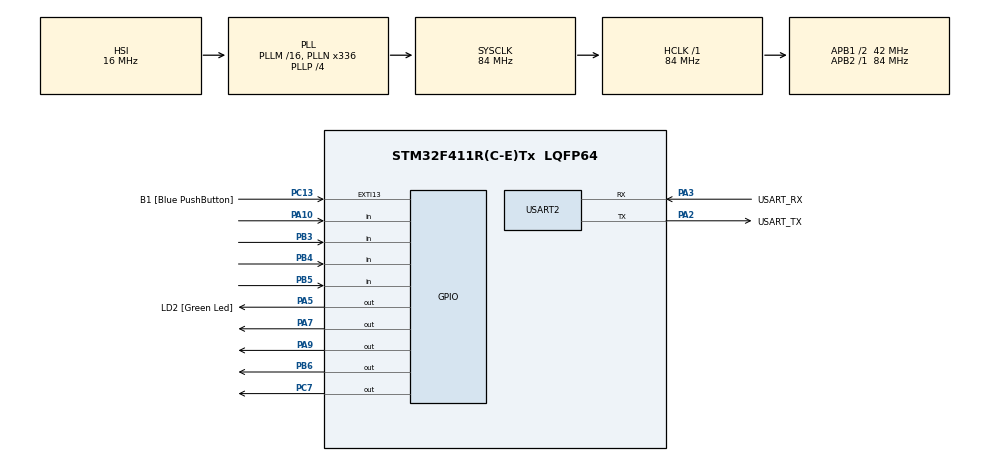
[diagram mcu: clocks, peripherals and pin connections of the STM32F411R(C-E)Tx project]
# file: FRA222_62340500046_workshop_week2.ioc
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Mcu.Family=STM32F4
Mcu.Name=STM32F411R(C-E)Tx
Mcu.Package=LQFP64
NVIC.PriorityGroup=NVIC_PRIORITYGROUP_0
PA10.GPIO_PuPd=GPIO_PULLUP
PA10.Signal=GPIO_Input
PA13.GPIO_Label=TMS
PA13.Mode=Serial_Wire
PA13.Signal=SYS_JTMS-SWDIO
PA14.GPIO_Label=TCK
PA14.Mode=Serial_Wire
PA14.Signal=SYS_JTCK-SWCLK
PA2.GPIO_Label=USART_TX
PA2.Mode=Asynchronous
PA2.Signal=USART2_TX
PA3.GPIO_Label=USART_RX
PA3.Mode=Asynchronous
PA3.Signal=USART2_RX
PA5.GPIO_Label=LD2 [Green Led]
PA5.GPIO_ModeDefaultOutputPP=GPIO_MODE_OUTPUT_OD
PA5.Signal=GPIO_Output
PA7.GPIO_ModeDefaultOutputPP=GPIO_MODE_OUTPUT_OD
PA7.PinState=GPIO_PIN_SET
PA7.Signal=GPIO_Output
PA9.GPIO_ModeDefaultOutputPP=GPIO_MODE_OUTPUT_OD
PA9.PinState=GPIO_PIN_SET
PA9.Signal=GPIO_Output
PB3.GPIO_PuPd=GPIO_PULLUP
PB3.Signal=GPIO_Input
PB4.GPIO_PuPd=GPIO_PULLUP
PB4.Signal=GPIO_Input
PB5.GPIO_PuPd=GPIO_PULLUP
PB5.Signal=GPIO_Input
PB6.GPIO_ModeDefaultOutputPP=GPIO_MODE_OUTPUT_OD
PB6.PinState=GPIO_PIN_SET
PB6.Signal=GPIO_Output
PC13-ANTI_TAMP.GPIO_Label=B1 [Blue PushButton]
PC13-ANTI_TAMP.GPIO_ModeDefaultEXTI=GPIO_MODE_IT_FALLING
PC13-ANTI_TAMP.Signal=GPXTI13
PC14-OSC32_IN.Mode=LSE-External-Oscillator
PC14-OSC32_IN.Signal=RCC_OSC32_IN
PC15-OSC32_OUT.Mode=LSE-External-Oscillator
PC15-OSC32_OUT.Signal=RCC_OSC32_OUT
PC7.GPIO_ModeDefaultOutputPP=GPIO_MODE_OUTPUT_OD
PC7.PinState=GPIO_PIN_SET
PC7.Signal=GPIO_Output
PH0\ -\ OSC_IN.Mode=HSE-External-Clock-Source
PH0\ -\ OSC_IN.Signal=RCC_OSC_IN
PH1\ -\ OSC_OUT.Mode=HSE-External-Clock-Source
PH1\ -\ OSC_OUT.Signal=RCC_OSC_OUT
ProjectManager.HeapSize=0x200
ProjectManager.StackSize=0x400
ProjectManager.TargetToolchain=STM32CubeIDE
RCC.48MHZClocksFreq_Value=84000000
RCC.AHBFreq_Value=84000000
RCC.APB1CLKDivider=RCC_HCLK_DIV2
RCC.APB1Freq_Value=42000000
RCC.APB1TimFreq_Value=84000000
RCC.APB2Freq_Value=84000000
RCC.APB2TimFreq_Value=84000000
RCC.CortexFreq_Value=84000000
RCC.FLatency-AdvancedSettings=FLASH_LATENCY_2
RCC.HCLKFreq_Value=84000000
RCC.HSE_VALUE=8000000
RCC.HSI_VALUE=16000000
RCC.PLLN=336
RCC.PLLP=RCC_PLLP_DIV4
RCC.SYSCLKFreq_VALUE=84000000
RCC.SYSCLKSource=RCC_SYSCLKSOURCE_PLLCLK
RCC.VCOOutputFreq_Value=336000000
USART2.VirtualMode=VM_ASYNC
board=NUCLEO-F411RE

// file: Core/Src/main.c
/* USER CODE BEGIN Header */
/**
  ******************************************************************************
  * @file           : main.c
  * @brief          : Main program body
  ******************************************************************************
  * @attention
  *
  * <h2><center>&copy; Copyright (c) 2021 STMicroelectronics.
  * All rights reserved.</center></h2>
  *
  * This software component is licensed by ST under BSD 3-Clause license,
  * the "License"; You may not use this file except in compliance with the
  * License. You may obtain a copy of the License at:
  *                        opensource.org/licenses/BSD-3-Clause
  *
  ******************************************************************************
  */
/* USER CODE END Header */
#include "main.h"

UART_HandleTypeDef huart2;

/* USER CODE BEGIN PV */
//save status button matrix
uint16_t ButtonMatrixState =0;
uint32_t ButtonMatrixTimestamp =0;

/* USER CODE END PV */

void SystemClock_Config(void);
static void MX_GPIO_Init(void);
static void MX_USART2_UART_Init(void);
/* USER CODE BEGIN PFP */
//scan and update data of button matrix
void ButtonMatrixUpdate();
/* USER CODE END PFP */

int main(void)
{

  /* MCU Configuration--------------------------------------------------------*/

  /* Reset of all peripherals, Initializes the Flash interface and the Systick. */

	HAL_Init();

  /* Configure the system clock */
  SystemClock_Config();

  /* Initialize all configured peripherals */
  MX_GPIO_Init();
  MX_USART2_UART_Init();

  /* Infinite loop */
  while (1)
  {
	  ButtonMatrixUpdate();
  }
}

void SystemClock_Config(void)
{
  RCC_OscInitTypeDef RCC_OscInitStruct = {0};
  RCC_ClkInitTypeDef RCC_ClkInitStruct = {0};

  /** Configure the main internal regulator output voltage
  */
  __HAL_RCC_PWR_CLK_ENABLE();
  __HAL_PWR_VOLTAGESCALING_CONFIG(PWR_REGULATOR_VOLTAGE_SCALE1);
  /** Initializes the RCC Oscillators according to the specified parameters
  * in the RCC_OscInitTypeDef structure.
  */
  RCC_OscInitStruct.OscillatorType = RCC_OSCILLATORTYPE_HSI;
  RCC_OscInitStruct.HSIState = RCC_HSI_ON;
  RCC_OscInitStruct.HSICalibrationValue = RCC_HSICALIBRATION_DEFAULT;
  RCC_OscInitStruct.PLL.PLLState = RCC_PLL_ON;
  RCC_OscInitStruct.PLL.PLLSource = RCC_PLLSOURCE_HSI;
  RCC_OscInitStruct.PLL.PLLM = 16;
  RCC_OscInitStruct.PLL.PLLN = 336;
  RCC_OscInitStruct.PLL.PLLP = RCC_PLLP_DIV4;
  RCC_OscInitStruct.PLL.PLLQ = 4;
  if (HAL_RCC_OscConfig(&RCC_OscInitStruct) != HAL_OK)
  {
    Error_Handler();
  }
  /** Initializes the CPU, AHB and APB buses clocks
  */
  RCC_ClkInitStruct.ClockType = RCC_CLOCKTYPE_HCLK|RCC_CLOCKTYPE_SYSCLK
                              |RCC_CLOCKTYPE_PCLK1|RCC_CLOCKTYPE_PCLK2;
  RCC_ClkInitStruct.SYSCLKSource = RCC_SYSCLKSOURCE_PLLCLK;
  RCC_ClkInitStruct.AHBCLKDivider = RCC_SYSCLK_DIV1;
  RCC_ClkInitStruct.APB1CLKDivider = RCC_HCLK_DIV2;
  RCC_ClkInitStruct.APB2CLKDivider = RCC_HCLK_DIV1;

  if (HAL_RCC_ClockConfig(&RCC_ClkInitStruct, FLASH_LATENCY_2) != HAL_OK)
  {
    Error_Handler();
  }
}

static void MX_USART2_UART_Init(void)
{

  huart2.Instance = USART2;
  huart2.Init.BaudRate = 115200;
  huart2.Init.WordLength = UART_WORDLENGTH_8B;
  huart2.Init.StopBits = UART_STOPBITS_1;
  huart2.Init.Parity = UART_PARITY_NONE;
  huart2.Init.Mode = UART_MODE_TX_RX;
  huart2.Init.HwFlowCtl = UART_HWCONTROL_NONE;
  huart2.Init.OverSampling = UART_OVERSAMPLING_16;
  if (HAL_UART_Init(&huart2) != HAL_OK)
  {
    Error_Handler();
  }

}

static void MX_GPIO_Init(void)
{
  GPIO_InitTypeDef GPIO_InitStruct = {0};

  /* GPIO Ports Clock Enable */
  __HAL_RCC_GPIOC_CLK_ENABLE();
  __HAL_RCC_GPIOH_CLK_ENABLE();
  __HAL_RCC_GPIOA_CLK_ENABLE();
  __HAL_RCC_GPIOB_CLK_ENABLE();

  /*Configure GPIO pin Output Level */
  HAL_GPIO_WritePin(LD2_GPIO_Port, LD2_Pin, GPIO_PIN_RESET);

  /*Configure GPIO pin Output Level */
  HAL_GPIO_WritePin(GPIOA, GPIO_PIN_7|GPIO_PIN_9, GPIO_PIN_SET);

  /*Configure GPIO pin Output Level */
  HAL_GPIO_WritePin(GPIOC, GPIO_PIN_7, GPIO_PIN_SET);

  /*Configure GPIO pin Output Level */
  HAL_GPIO_WritePin(GPIOB, GPIO_PIN_6, GPIO_PIN_SET);

  /*Configure GPIO pin : B1_Pin */
  GPIO_InitStruct.Pin = B1_Pin;
  GPIO_InitStruct.Mode = GPIO_MODE_IT_FALLING;
  GPIO_InitStruct.Pull = GPIO_NOPULL;
  HAL_GPIO_Init(B1_GPIO_Port, &GPIO_InitStruct);

  /*Configure GPIO pins : LD2_Pin PA7 PA9 */
  GPIO_InitStruct.Pin = LD2_Pin|GPIO_PIN_7|GPIO_PIN_9;
  GPIO_InitStruct.Mode = GPIO_MODE_OUTPUT_OD;
  GPIO_InitStruct.Pull = GPIO_NOPULL;
  GPIO_InitStruct.Speed = GPIO_SPEED_FREQ_LOW;
  HAL_GPIO_Init(GPIOA, &GPIO_InitStruct);

  /*Configure GPIO pin : PC7 */
  GPIO_InitStruct.Pin = GPIO_PIN_7;
  GPIO_InitStruct.Mode = GPIO_MODE_OUTPUT_OD;
  GPIO_InitStruct.Pull = GPIO_NOPULL;
  GPIO_InitStruct.Speed = GPIO_SPEED_FREQ_LOW;
  HAL_GPIO_Init(GPIOC, &GPIO_InitStruct);

  /*Configure GPIO pin : PA10 */
  GPIO_InitStruct.Pin = GPIO_PIN_10;
  GPIO_InitStruct.Mode = GPIO_MODE_INPUT;
  GPIO_InitStruct.Pull = GPIO_PULLUP;
  HAL_GPIO_Init(GPIOA, &GPIO_InitStruct);

  /*Configure GPIO pins : PB3 PB4 PB5 */
  GPIO_InitStruct.Pin = GPIO_PIN_3|GPIO_PIN_4|GPIO_PIN_5;
  GPIO_InitStruct.Mode = GPIO_MODE_INPUT;
  GPIO_InitStruct.Pull = GPIO_PULLUP;
  HAL_GPIO_Init(GPIOB, &GPIO_InitStruct);

  /*Configure GPIO pin : PB6 */
  GPIO_InitStruct.Pin = GPIO_PIN_6;
  GPIO_InitStruct.Mode = GPIO_MODE_OUTPUT_OD;
  GPIO_InitStruct.Pull = GPIO_NOPULL;
  GPIO_InitStruct.Speed = GPIO_SPEED_FREQ_LOW;
  HAL_GPIO_Init(GPIOB, &GPIO_InitStruct);

}
GPIO_TypeDef* ButtonMatrixProt[8]=
{GPIOA,GPIOB,GPIOB,GPIOB,GPIOA,GPIOC,GPIOB,GPIOA};

uint16_t ButtonMatrixPin[8] =
{GPIO_PIN_10,GPIO_PIN_3,GPIO_PIN_5,GPIO_PIN_4,GPIO_PIN_9,GPIO_PIN_7,GPIO_PIN_6,GPIO_PIN_7};

uint8_t ButtonMatrixRow =0;

/* USER CODE BEGIN 4 */
void ButtonMatrixUpdate()
{
	if(HAL_GetTick()-ButtonMatrixTimestamp >= 100)
	{
		ButtonMatrixTimestamp = HAL_GetTick();
		int i;
		for(i = 0;i<4;++i)
		{
			GPIO_PinState PinState = HAL_GPIO_ReadPin(ButtonMatrixProt[i],ButtonMatrixPin[i]);
			if(PinState == GPIO_PIN_RESET)
			{
				ButtonMatrixState |= (uint16_t)0x1 <<(i+ButtonMatrixRow*4);
			}
			else
			{
				ButtonMatrixState &= ~((uint16_t)0x1 <<(i+ButtonMatrixRow*4));
			}
		}
		uint8_t NowOutputPin = ButtonMatrixRow+4;
		HAL_GPIO_WritePin(ButtonMatrixProt[NowOutputPin],
				ButtonMatrixPin[NowOutputPin], GPIO_PIN_SET);
		ButtonMatrixRow = (ButtonMatrixRow+1)%4;
		uint8_t NextOutputPin = ButtonMatrixRow+4;
		HAL_GPIO_WritePin(ButtonMatrixProt[NextOutputPin],
				ButtonMatrixPin[NextOutputPin], GPIO_PIN_RESET);

	}
}
/* USER CODE END 4 */

void Error_Handler(void)
{
  __disable_irq();
  while (1)
  {
  }
}

/************************ (C) COPYRIGHT STMicroelectronics *****END OF FILE****/
